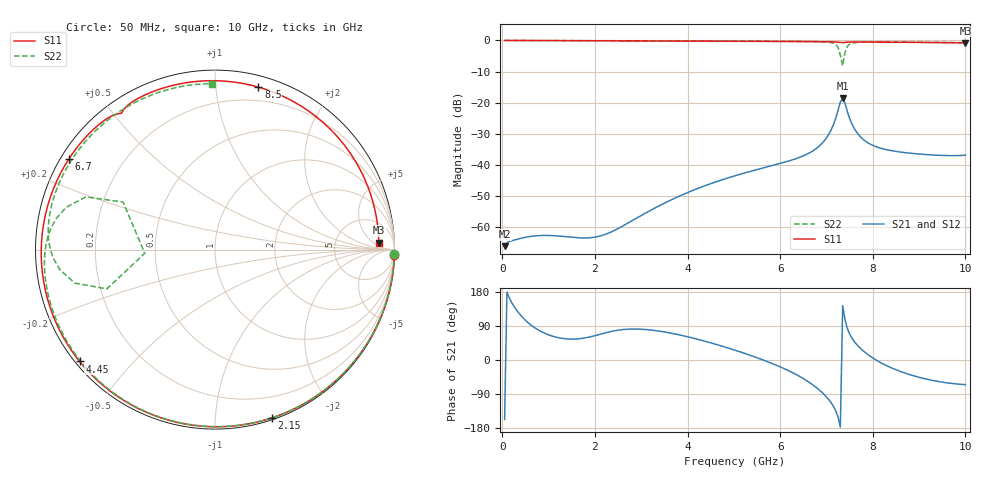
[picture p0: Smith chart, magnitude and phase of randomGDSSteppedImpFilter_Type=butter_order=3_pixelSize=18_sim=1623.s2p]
! freq	dB(S11)	phase(S11)	dB(S12)	phase(S12)
!  dB(S21)	phase(S21)	dB(S22)	phase(S22)
!S-par simulation data
#  GHz  S  DB  R 50
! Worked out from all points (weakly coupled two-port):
!   200 points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, 50 MHz to 10 GHz, reference 50 ohm
!   highest |S21| = -18.56 dB at 7.35 GHz (marker M1); lowest = -66.3 dB at 50 MHz (marker M2)
!   lowest |S11| = -0.8 dB at 10 GHz (marker M3), VSWR 22.08, Z = 902 + j427 ohm
!   |S11| at or under -10 dB: nowhere
!   |S22| runs from -8.1 to 0.0 dB; largest |S21 - S12| = 0
!   S11 on the Smith chart (normalised r, x): 50 MHz: 0, -67; 2.15 GHz: 0.02, -1.39; 4.45 GHz: 0.01, -0.36; 6.7 GHz: 0.02, +0.28; 8.5 GHz: 0.09, +1.30; 10 GHz: 18, +9
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0.05  -0.00 -1.7  -66.25 -156.9  -66.25 -156.9  -0.00 -1.4
0.7  -0.02 -23.9  -62.95 85.1  -62.95 85.1  -0.02 -18.9
1.75  -0.07 -58.6  -63.61 57.5  -63.61 57.5  -0.06 -46.5
2.15  -0.09 -71.3  -62.82 69.1  -62.82 69.1  -0.07 -56.8
3.4  -0.14 -109.5  -53.15 76.0  -53.15 76.0  -0.12 -87.9
4.45  -0.19 -140.5  -46.38 47.1  -46.38 47.1  -0.16 -113.3
5.05  -0.23 -158.3  -43.47 24.9  -43.47 24.9  -0.20 -127.7
5.9  -0.30 175.3  -40.03 -12.9  -40.03 -12.9  -0.26 -148.6
6.7  -0.37 148.3  -35.62 -65.1  -35.62 -65.1  -0.37 -170.7
7.05  -0.42 135.3  -30.23 -104.5  -30.23 -104.5  -0.60 175.6
7.15  -0.45 131.3  -27.14 -122.0  -27.14 -122.0  -0.90 169.0
7.25  -0.54 127.2  -22.51 -150.7  -22.51 -150.7  -2.19 157.8
7.3  -0.64 125.4  -19.78 -177.1  -19.78 -177.1  -4.78 152.6
7.35  -0.71 124.4  -18.56 143.6  -18.56 143.6  -8.13 -177.0
7.4  -0.62 123.1  -20.24 107.0  -20.24 107.0  -3.87 -160.0
7.45  -0.54 121.1  -22.82 83.7  -22.82 83.7  -1.90 -166.6
7.55  -0.49 116.8  -26.89 57.7  -26.89 57.7  -0.88 -177.1
7.85  -0.50 104.1  -32.52 18.6  -32.52 18.6  -0.52 167.6
8.35  -0.55 81.9  -35.35 -17.9  -35.35 -17.9  -0.51 150.1
8.5  -0.57 75.0  -35.74 -25.7  -35.74 -25.7  -0.52 145.1
9.3  -0.67 36.6  -36.89 -54.1  -36.89 -54.1  -0.61 117.4
10  -0.79 2.5  -36.97 -65.1  -36.97 -65.1  -0.68 91.1
